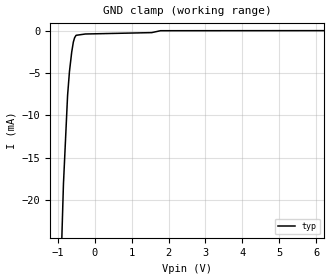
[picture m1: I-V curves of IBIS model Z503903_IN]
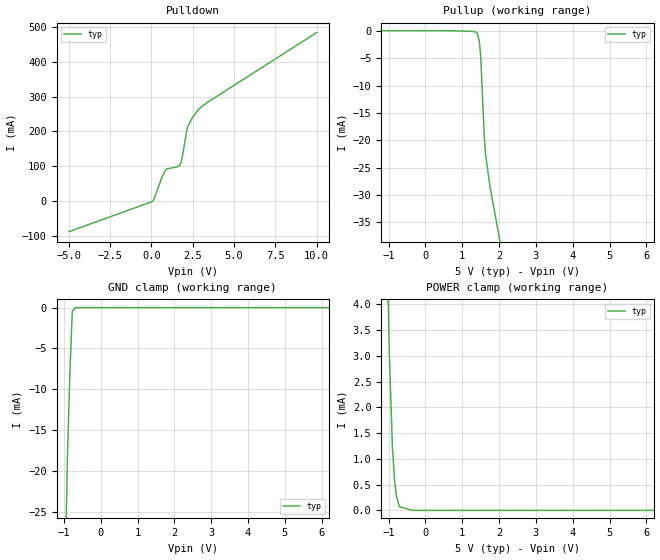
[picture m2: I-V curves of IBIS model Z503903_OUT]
| YOU ARE ONLY AUTHORIZED TO USE THIS SOFTWARE
| ACCORDING TO LICENSOR'S LICENSE RESTRICTIONS.
[IBIS Ver] 3.1
[File Name] mc54f109j.ibs
[File Rev] 2.0
[Source] Measured and created by ICX Technology
[Date] Friday 7/14/00 9:08:02 AM
[Copyright]
| (C) COPYRIGHT 1993-2000
| MENTOR GRAPHICS CORPORATION
| ICX STANDARD LIBRARY, ICX PROJECT MODELING,
| ICX CUSTOM MODELING, ICX VENDOR MODEL
| ALL RIGHTS RESERVED.
| THE FOLLOWING ARE TRADEMARKS OR SERVICE MARKS OF
| MENTOR GRAPHICS CORPORATION:ICX (R), ICX STANDARD
| LIBRARY(R), ICX PROJECT MODELING(R), ICX CUSTOM
| MODELING(R), qualityIBIS(TM), MODELVIEWER(TM),
| AND MODELEDITOR(TM)
| ALL COPIES OF SOFTWARE, INCLUDING BUT NOT LIMITED TO
| ANY MODIFICATIONS, ENHANCEMENTS OR DERIVATIVE WORKS,
| MUST CONTAIN ALL MENTOR GRAPHICS CORPORATION'S
| NOTICES AND LEGENDS, INCLUDING THOSE EMBEDDED IN
| SOFTWARE AND THOSE AFFIXED TO SOFTWARE MEDIUM
| AND CONTAINER, AS RECEIVED FROM MENTOR GRAPHICS
| CORPORATION.
|  ZAP Model Builder 2.7
[Component] MC54F109J
[Manufacturer] OnSemiconductor
[Package]
| variable   typ   min   max
R_pkg  .212ohms NA NA
L_pkg  4.758nH NA NA
C_pkg  1.944pF NA NA
[Pin] signal_name  model_name  R_pin  L_pin C_pin
1 _CLR Z503903_IN .224 7.258n 2.683p
2 J Z503903_IN .216 5.258n 2.19p
3 _K Z503903_IN .208 3.758n 1.697p
4 CLK Z503903_IN .2 2.758n 1.204p
5 _PRE Z503903_IN .2 2.758n 1.204p
6 Q Z503903_OUT .208 3.758n 1.697p
7 _Q Z503903_OUT .216 5.258n 2.19p
8 GND GND .224 7.258n 2.683p
9 _Q Z503903_OUT .224 7.258n 2.683p
10 Q Z503903_OUT .216 5.258n 2.19p
11 _PRE Z503903_IN .208 3.758n 1.697p
12 CLK Z503903_IN .2 2.758n 1.204p
13 _K Z503903_IN .2 2.758n 1.204p
14 J Z503903_IN .208 3.758n 1.697p
15 _CLR Z503903_IN .216 5.258n 2.19p
16 VCC POWER .224 7.258n 2.683p
| Models and submodels in the file (2): Z503903_IN (Input), Z503903_OUT (Output)
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| (C) COPYRIGHT 1993-2000
| MENTOR GRAPHICS CORPORATION
| ICX STANDARD LIBRARY, ICX PROJECT MODELING,
| ICX CUSTOM MODELING, ICX VENDOR MODEL
| ALL RIGHTS RESERVED.
| THE FOLLOWING ARE TRADEMARKS OR SERVICE MARKS OF
| MENTOR GRAPHICS CORPORATION:ICX (R), ICX STANDARD
| LIBRARY(R), ICX PROJECT MODELING(R), ICX CUSTOM
| MODELING(R), qualityIBIS(TM), MODELVIEWER(TM),
| AND MODELEDITOR(TM)
| ALL COPIES OF SOFTWARE, INCLUDING BUT NOT LIMITED TO
| ANY MODIFICATIONS, ENHANCEMENTS OR DERIVATIVE WORKS,
| MUST CONTAIN ALL MENTOR GRAPHICS CORPORATION'S
| NOTICES AND LEGENDS, INCLUDING THOSE EMBEDDED IN
| SOFTWARE AND THOSE AFFIXED TO SOFTWARE MEDIUM
| AND CONTAINER, AS RECEIVED FROM MENTOR GRAPHICS
| CORPORATION.
| Model Application Version 1.89 2/18/99.
[Model] Z503903_IN
Model_type Input
Vinl = 800.0mV
Vinh = 2.000V
C_comp 4.000pF NA NA
| variable typ   min   max
[Voltage Range] 5.000V NA NA
[GND Clamp Reference] 0.000V NA NA
[POWER Clamp Reference] 5.000V NA NA
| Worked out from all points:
|   GND clamp passes 1 mA (typ) near -0.55 V on its own axis
[GND Clamp]
-5V       -628.5mA   NA         NA
-844mV    -18.17mA   NA         NA
-731.8mV  -7.662mA   NA         NA
-680.9mV  -4.827mA   NA         NA
-620.4mV  -2.542mA   NA         NA
-576.2mV  -1.35mA    NA         NA
-542mV    -834.9uA   NA         NA
-501.6mV  -548.3uA   NA         NA
-250.8mV  -392.3uA   NA         NA
1.545V    -229.8uA   NA         NA
1.782V    -4.103uA   NA         NA
10V       11.94uA    NA         NA
[POWER Clamp]
-5V       0A         NA         NA
10V       0A         NA         NA
| (C) COPYRIGHT 1993-2000
| MENTOR GRAPHICS CORPORATION
| ICX STANDARD LIBRARY, ICX PROJECT MODELING,
| ICX CUSTOM MODELING, ICX VENDOR MODEL
| ALL RIGHTS RESERVED.
| THE FOLLOWING ARE TRADEMARKS OR SERVICE MARKS OF
| MENTOR GRAPHICS CORPORATION:ICX (R), ICX STANDARD
| LIBRARY(R), ICX PROJECT MODELING(R), ICX CUSTOM
| MODELING(R), qualityIBIS(TM), MODELVIEWER(TM),
| AND MODELEDITOR(TM)
| ALL COPIES OF SOFTWARE, INCLUDING BUT NOT LIMITED TO
| ANY MODIFICATIONS, ENHANCEMENTS OR DERIVATIVE WORKS,
| MUST CONTAIN ALL MENTOR GRAPHICS CORPORATION'S
| NOTICES AND LEGENDS, INCLUDING THOSE EMBEDDED IN
| SOFTWARE AND THOSE AFFIXED TO SOFTWARE MEDIUM
| AND CONTAINER, AS RECEIVED FROM MENTOR GRAPHICS
| CORPORATION.
| Model Application Version 1.89 2/18/99.
[Model] Z503903_OUT
Model_type Output
Vref=0.000V
Rref=500.0ohms
Cref=50.00pF
Vmeas=1.500V
C_comp 8.000pF NA NA
| variable typ   min   max
[Voltage Range] 5.000V NA NA
[POWER Clamp Reference] 5.000V NA NA
[Pullup Reference] 5.000V NA NA
[Pulldown Reference] 0.000V NA NA
[GND Clamp Reference] 0.000V NA NA
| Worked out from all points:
|   slope of the pulldown table from 0 to 0.75 V, typ, clamps not added: 9.11 ohm
|   slope of the pullup table from 0 to 0.75 V, typ, clamps not added: 27.5 kohm
|   GND clamp passes 1 mA (typ) near -0.78 V on its own axis
|   POWER clamp passes 1 mA (typ) near -0.88 V on its own axis
[GND Clamp]
-5V       -1.711A    NA         NA
-1.113V   -171.5mA   NA         NA
-1.03V    -49.02mA   NA         NA
-908.2mV  -19.06mA   NA         NA
-839.7mV  -8.188mA   NA         NA
-771.4mV  -448.6uA   NA         NA
-685.7mV  0A         NA         NA
10V       0A         NA         NA
[Pulldown]
-5V       -88.25mA   NA         NA
30.29mV   -2.054mA   NA         NA
146.5mV   4.666mA    NA         NA
649.4mV   70.25mA    NA         NA
847.5mV   89.03mA    NA         NA
1.697V    101.3mA    NA         NA
1.768V    108.3mA    NA         NA
1.868V    127.5mA    NA         NA
2.188V    213.2mA    NA         NA
2.481V    239.9mA    NA         NA
2.837V    262.6mA    NA         NA
10V       484.3mA    NA         NA
[Pullup]
-5V       18.14uA    NA         NA
605mV     18.14uA    NA         NA
1.26V     -105uA     NA         NA
1.362V    -209.3uA   NA         NA
1.401V    -412uA     NA         NA
1.416V    -618.4uA   NA         NA
1.464V    -1.932mA   NA         NA
1.499V    -4.45mA    NA         NA
1.602V    -19.78mA   NA         NA
1.633V    -22.56mA   NA         NA
1.753V    -28.48mA   NA         NA
10V       -332.3mA   NA         NA
[POWER Clamp]
-5V       142.9mA    NA         NA
-980mV    3.027mA    NA         NA
-897mV    1.233mA    NA         NA
-844mV    617.3uA    NA         NA
-788mV    275.9uA    NA         NA
-708mV    73.28uA    NA         NA
-354mV    0A         NA         NA
10V       0A         NA         NA
[Ramp]
| variable typ min max
dV/dt_r 2.043/2.577n NA NA
dV/dt_f 2.043/2.412n NA NA
R_load = 500.0Ohms
